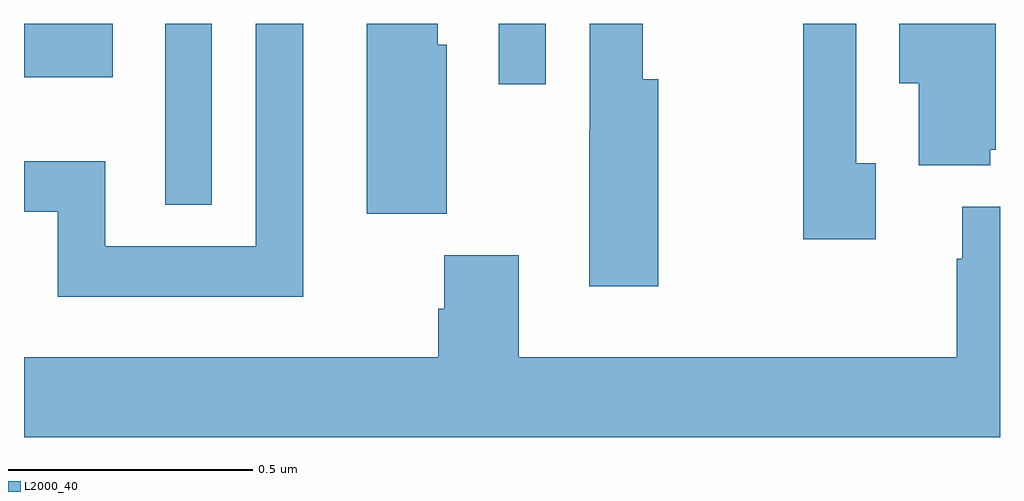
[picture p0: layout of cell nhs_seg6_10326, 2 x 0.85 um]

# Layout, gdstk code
import gdstk
lib = gdstk.Library(unit=1e-6, precision=1e-09)
def R(c, l, rs):  # rectangles x0, y0, x1, y1
    for r in rs: c.add(gdstk.rectangle(r[:2], r[2:], *l))
def P(c, l, *ps):  # polygons
    for p in ps: c.add(gdstk.Polygon(p, *l))
L2000_40 = (2000, 40)

nhs_seg6_10326 = lib.new_cell('nhs_seg6_10326')
R(nhs_seg6_10326, L2000_40, [(245.289,965.129,245.385,965.5), (245.973,965.376,246.069,965.5), (245,965.39,245.182,965.5)])
P(nhs_seg6_10326, L2000_40, [(246.745,965.214),(246.705,965.214),(246.705,965.5),(246.597,965.5),(246.597,965.058),(246.745,965.058)],
  [(245.572,965.5),(245.475,965.5),(245.475,965.044),(245.166,965.044),(245.166,965.218),(245,965.218),(245,965.114),(245.069,965.114),(245.069,964.94),(245.572,964.94)],
  [(245.866,965.457),(245.848,965.457),(245.848,965.5),(245.702,965.5),(245.702,965.11),(245.866,965.11)],
  [(246.98,965.241),(246.991,965.241),(246.991,965.5),(246.794,965.5),(246.794,965.378),(246.833,965.378),(246.833,965.21),(246.98,965.21)],
  [(246.3,965.386),(246.268,965.386),(246.268,965.5),(246.159,965.5),(246.159,965.282),(246.158,965.282),(246.158,964.962),(246.3,964.962)],
  [(247,965.125),(246.923,965.125),(246.923,965.018),(246.911,965.018),(246.911,964.816),(246.014,964.816),(246.014,965.025),(245.861,965.025),(245.861,964.916),(245.849,964.916),(245.849,964.816),(245,964.816),(245,964.652),(247,964.652)])

lib.write_gds('nhs_seg6_10326.gds')
